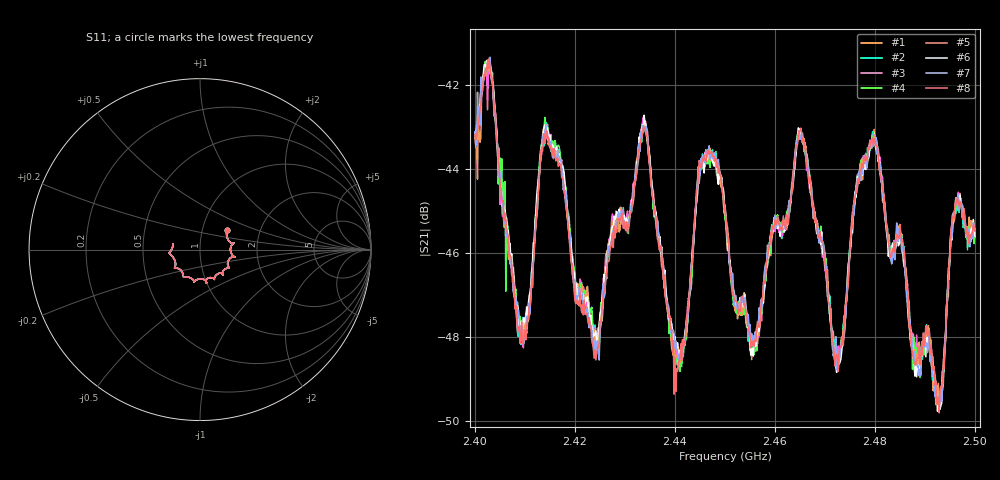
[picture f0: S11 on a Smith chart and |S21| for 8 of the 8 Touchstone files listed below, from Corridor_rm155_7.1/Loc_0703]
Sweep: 2.4 GHz to 2.5 GHz
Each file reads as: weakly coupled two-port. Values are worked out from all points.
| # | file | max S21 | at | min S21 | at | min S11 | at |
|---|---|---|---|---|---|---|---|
| 1 | Lab_139_3Ch1.s2p | -41.41 dB | 2.4027 GHz | -49.5 dB | 2.493 GHz | -15.9 dB | 2.4902 GHz |
| 2 | Lab_139_4Ch1.s2p | -41.56 dB | 2.4023 GHz | -49.6 dB | 2.4928 GHz | -15.9 dB | 2.4903 GHz |
| 3 | Lab_139_5Ch1.s2p | -41.52 dB | 2.4028 GHz | -49.5 dB | 2.4927 GHz | -15.9 dB | 2.4903 GHz |
| 4 | Lab_139_6Ch1.s2p | -41.40 dB | 2.4027 GHz | -49.6 dB | 2.4928 GHz | -15.9 dB | 2.49 GHz |
| 5 | Lab_139_7Ch1.s2p | -41.47 dB | 2.4027 GHz | -49.7 dB | 2.4928 GHz | -15.9 dB | 2.4993 GHz |
| 6 | Lab_139_8Ch1.s2p | -41.40 dB | 2.4028 GHz | -49.8 dB | 2.4925 GHz | -15.9 dB | 2.4902 GHz |
| 7 | Lab_139_9Ch1.s2p | -41.34 dB | 2.403 GHz | -49.7 dB | 2.4928 GHz | -15.9 dB | 2.4903 GHz |
| 8 | Lab_139_10Ch1.s2p | -41.36 dB | 2.4028 GHz | -49.8 dB | 2.4928 GHz | -15.9 dB | 2.4903 GHz |
